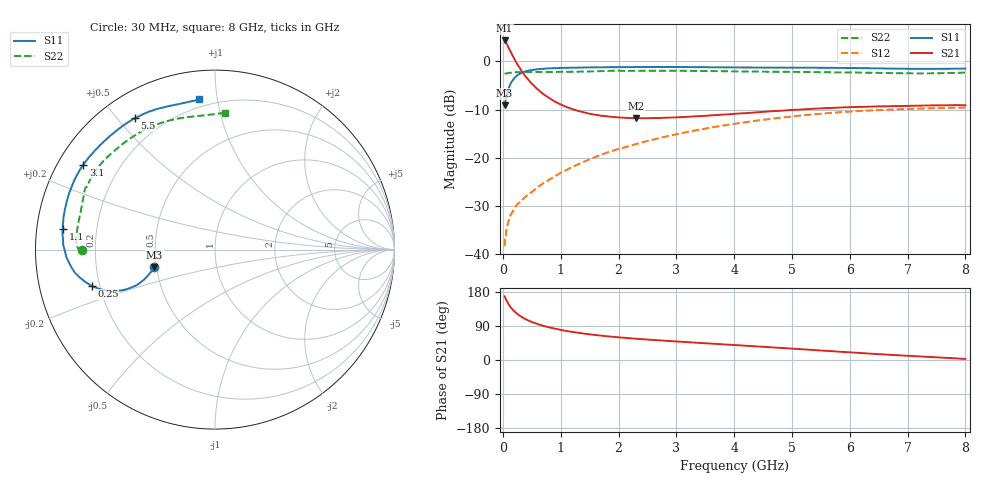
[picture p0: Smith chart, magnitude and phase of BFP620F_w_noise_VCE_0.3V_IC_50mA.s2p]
! Infineon Technologies  Discrete & RF Semiconductors
! BFP620F
! VCE =  0.3 V,  IC =  50 mA
! Common Emitter S-Parameters:  Dec 2014
# GHz  S  MA  R  50
!  f  S11  S21  S12  S22
! GHz  MAG  ANG  MAG  ANG  MAG  ANG  MAG  ANG
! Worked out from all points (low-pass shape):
!   95 points, 30 MHz to 8 GHz, reference 50 ohm
!   highest |S21| = 4.33 dB at 30 MHz (marker M1); lowest = -11.8 dB at 2.3 GHz (marker M2)
!   |S21| within 3 dB of the highest: start of sweep to 162 MHz
!   lowest |S11| = -9.1 dB at 30 MHz (marker M3), VSWR 2.08, Z = 24.4 - j5.38 ohm
!   |S11| at or under -10 dB: nowhere
!   |S22| runs from -2.6 to -1.9 dB; largest |S21 - S12| = 1.7
!   S11 on the Smith chart (normalised r, x): 30 MHz: 0.49, -0.11; 250 MHz: 0.17, -0.14; 1.1 GHz: 0.08, +0.07; 3.1 GHz: 0.07, +0.29; 5.5 GHz: 0.10, +0.56; 8 GHz: 0.16, +0.89
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0.03  0.3512 -164.0  1.646 168.2  0.0121 25.2  0.7435 -179.8
0.04  0.3764 -160.9  1.611 164.6  0.0143 29.9  0.7447 -179.7
0.05  0.4017 -158.8  1.574 161.3  0.0144 31.1  0.746 -179.6
0.06  0.4273 -157.1  1.537 158.0  0.0177 33.4  0.7478 -179.6
0.07  0.452 -156.3  1.503 155.1  0.0185 33.4  0.7505 -179.7
0.11  0.5429 -155.9  1.345 144.5  0.0227 40.0  0.7592 179.9
0.15  0.6121 -157.8  1.203 136.4  0.0265 39.1  0.7646 179.3
0.2  0.6734 -160.7  1.054 128.2  0.0298 39.5  0.7696 178.3
0.25  0.7169 -163.6  0.933 121.6  0.033 41.0  0.7726 177.3
0.35  0.7708 -168.5  0.755 111.3  0.0375 43.1  0.7746 175.5
0.5  0.8122 -174.1  0.587 100.4  0.0441 47.3  0.7754 173.0
0.7  0.8367 -179.6  0.457 90.1  0.0543 51.6  0.7755 170.0
1.1  0.8556 172.4  0.336 76.7  0.0747 55.5  0.7774 164.4
1.4  0.8636 167.8  0.296 69.7  0.0908 56.4  0.7831 160.7
2.3  0.8725 156.2  0.257 56.2  0.1383 53.3  0.7963 152.0
2.7  0.8741 151.7  0.258 51.9  0.1595 50.8  0.7977 148.6
3.1  0.8729 147.2  0.264 48.0  0.1802 47.9  0.7966 145.1
4.1  0.8637 135.9  0.288 38.6  0.2291 39.5  0.7852 135.2
5.4  0.8582 122.4  0.323 26.0  0.2825 27.2  0.7732 119.6
5.5  0.857 121.4  0.325 25.1  0.2857 26.2  0.7713 118.3
6.7  0.8411 108.8  0.342 13.7  0.3155 14.7  0.7552 103.2
8  0.841 95.9  0.35 2.8  0.3311 3.6  0.7643 85.7
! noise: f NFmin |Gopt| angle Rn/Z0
0.45  1.55  0.23  -171  0.17
0.9  1.58  0.23  -171  0.15
1.5  1.6  0.27  -155  0.1
1.8  1.61  0.27  -153  0.1
1.9  1.62  0.27  -151  0.1
2.4  1.63  0.27  214  0.11
3.5  1.71  0.28  221  0.13
5.5  1.82  0.32  252  0.22
6  1.84  0.32  261  0.28
